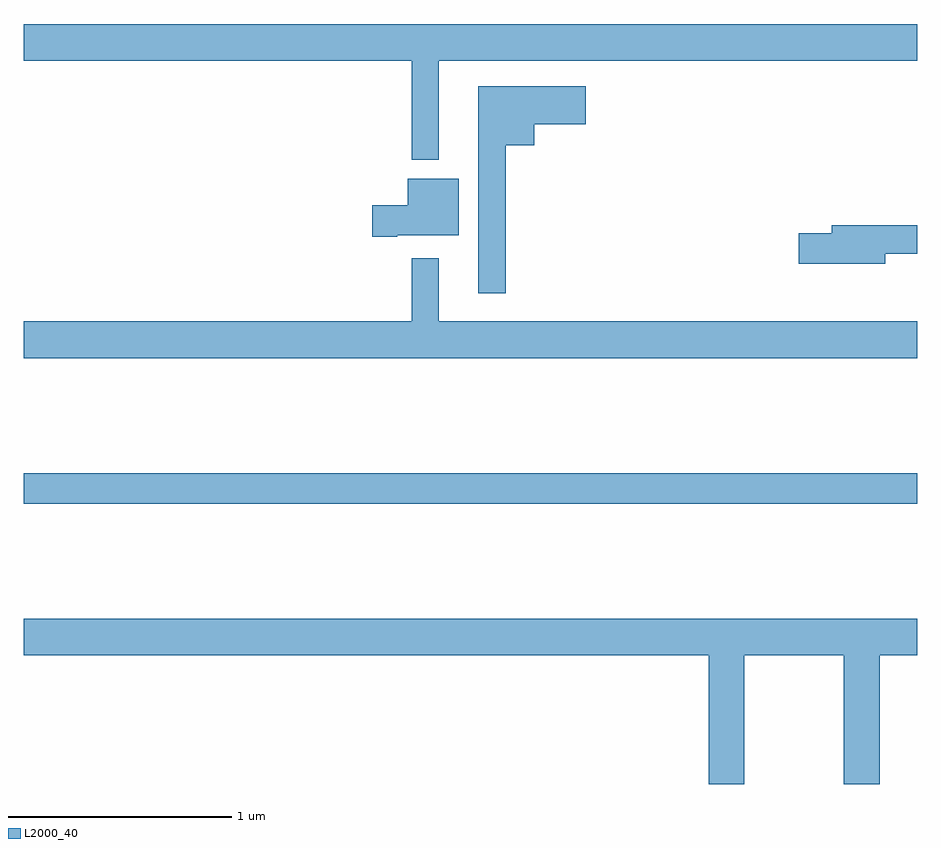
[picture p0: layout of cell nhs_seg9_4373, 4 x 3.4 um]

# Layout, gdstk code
import gdstk
lib = gdstk.Library(unit=1e-6, precision=1e-09)
def R(c, l, rs):  # rectangles x0, y0, x1, y1
    for r in rs: c.add(gdstk.rectangle(r[:2], r[2:], *l))
def P(c, l, *ps):  # polygons
    for p in ps: c.add(gdstk.Polygon(p, *l))
L2000_40 = (2000, 40)

nhs_seg9_4373 = lib.new_cell('nhs_seg9_4373')
R(nhs_seg9_4373, L2000_40, [(361,1207.756,365,1207.892)])
P(nhs_seg9_4373, L2000_40, [(362.857,1209.74),(365,1209.74),(365,1209.904),(361,1209.904),(361,1209.74),(362.736,1209.74),(362.736,1209.296),(362.857,1209.296)],
  [(363.157,1209.362),(363.286,1209.362),(363.286,1209.455),(363.517,1209.455),(363.517,1209.625),(363.035,1209.625),(363.035,1208.697),(363.157,1208.697)],
  [(362.671,1208.957),(362.947,1208.957),(362.947,1209.211),(362.72,1209.211),(362.72,1209.092),(362.559,1209.092),(362.559,1208.95),(362.671,1208.95)],
  [(364.858,1208.874),(365,1208.874),(365,1209.002),(364.619,1209.002),(364.619,1208.966),(364.47,1208.966),(364.47,1208.831),(364.858,1208.831)],
  [(365,1208.572),(362.857,1208.572),(362.857,1208.854),(362.736,1208.854),(362.736,1208.572),(361,1208.572),(361,1208.408),(365,1208.408)],
  [(364.227,1207.076),(364.672,1207.076),(364.672,1206.5),(364.832,1206.5),(364.832,1207.076),(365,1207.076),(365,1207.24),(361,1207.24),(361,1207.076),(364.067,1207.076),(364.067,1206.5),(364.227,1206.5)])

lib.write_gds('nhs_seg9_4373.gds')
